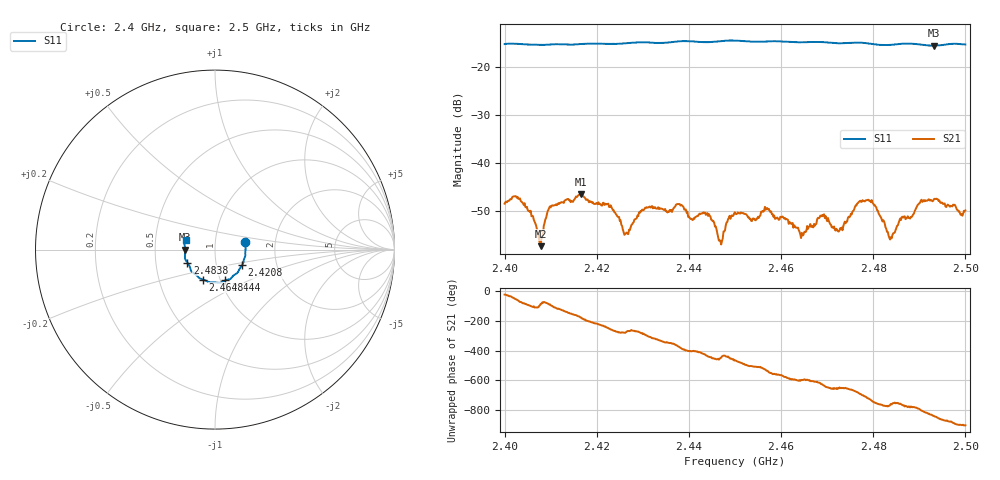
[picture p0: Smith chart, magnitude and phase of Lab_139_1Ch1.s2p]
# Hz S RI R 50
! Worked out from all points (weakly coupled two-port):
!   601 points, 2.4 GHz to 2.5 GHz, reference 50 ohm
!   highest |S21| = -46.52 dB at 2.4165 GHz (marker M1); lowest = -57.3 dB at 2.4078 GHz (marker M2)
!   lowest |S11| = -15.6 dB at 2.4932 GHz (marker M3), VSWR 1.40, Z = 35.8 - j0.0778 ohm
!   |S11| at or under -10 dB: start of sweep to end of sweep
!   S12 and S22 are empty: the file has one direction only
!   S11 on the Smith chart (normalised r, x): 2.4 GHz: 1.40, +0.12; 2.4208 GHz: 1.33, -0.24; 2.444 GHz: 1.06, -0.37; 2.4648 GHz: 0.83, -0.29; 2.4838 GHz: 0.73, -0.11; 2.5 GHz: 0.72, +0.08
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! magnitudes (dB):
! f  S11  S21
! 2.4 GHz  -15.3  -48.4
! 2.4033 GHz  -15.3  -47.3
! 2.4078 GHz  -15.4  -57.3
! 2.4098 GHz  -15.3  -49.0
! 2.4165 GHz  -15.3  -46.5
! 2.4167 GHz  -15.2  -46.8
! 2.4208 GHz  -15.2  -48.6
! 2.4263 GHz  -15.1  -54.6
! 2.4333 GHz  -15.0  -49.2
! 2.444 GHz  -14.9  -50.4
! 2.4468 GHz  -14.7  -56.1
! 2.45 GHz  -14.5  -50.2
! 2.457 GHz  -14.7  -49.4
! 2.4648 GHz  -14.9  -54.9
! 2.4667 GHz  -14.8  -53.0
! 2.4692 GHz  -14.9  -50.7
! 2.4728 GHz  -15.1  -53.5
! 2.4788 GHz  -15.1  -47.6
! 2.4833 GHz  -15.5  -55.1
! 2.4838 GHz  -15.4  -55.4
! 2.4932 GHz  -15.6  -47.5
! 2.5 GHz  -15.4  -49.8
